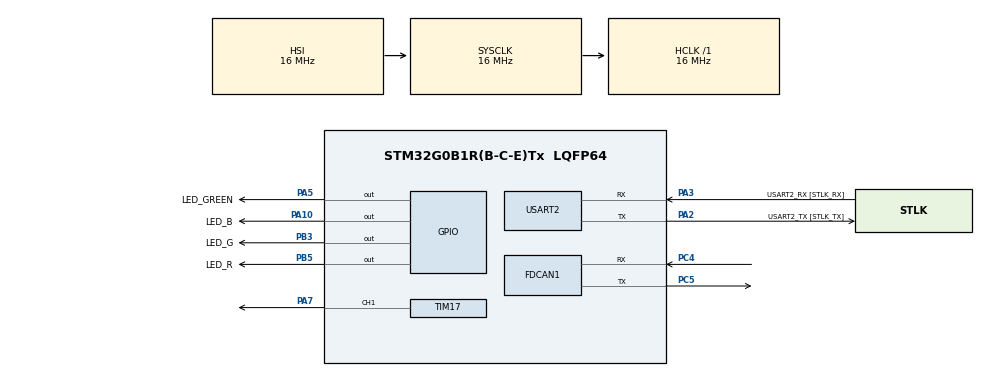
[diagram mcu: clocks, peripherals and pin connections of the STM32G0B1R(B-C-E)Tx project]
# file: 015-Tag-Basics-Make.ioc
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FDCAN1.ClockDivider=FDCAN_CLOCK_DIV16
FDCAN1.DataTimeSeg1=1
FDCAN1.DataTimeSeg2=1
FDCAN1.NominalTimeSeg1=2
FDCAN1.NominalTimeSeg2=2
FDCAN1.TxFifoQueueMode=FDCAN_TX_QUEUE_OPERATION
Mcu.Family=STM32G0
Mcu.Name=STM32G0B1R(B-C-E)Tx
Mcu.Package=LQFP64
NVIC.TIM16_FDCAN_IT0_IRQn=true\:0\:0\:false\:false\:true\:true\:true
NVIC.TIM17_FDCAN_IT1_IRQn=true\:0\:0\:false\:false\:true\:true\:true
PA10.GPIO_Label=LED_B
PA10.GPIO_ModeDefaultOutputPP=GPIO_MODE_OUTPUT_PP
PA10.GPIO_PuPd=GPIO_NOPULL
PA10.Signal=GPIO_Output
PA13.GPIO_Label=TMS
PA13.Mode=Serial_Wire
PA13.Signal=SYS_SWDIO
PA14-BOOT0.GPIO_Label=TCK
PA14-BOOT0.Mode=Serial_Wire
PA14-BOOT0.Signal=SYS_SWCLK
PA2.GPIO_Label=USART2_TX [STLK_TX]
PA2.Mode=Asynchronous
PA2.Signal=USART2_TX
PA3.GPIO_Label=USART2_RX [STLK_RX]
PA3.Mode=Asynchronous
PA3.Signal=USART2_RX
PA5.GPIO_Label=LED_GREEN
PA5.GPIO_Speed=GPIO_SPEED_FREQ_HIGH
PA5.Signal=GPIO_Output
PA7.Signal=S_TIM17_CH1
PB3.GPIO_Label=LED_G
PB3.GPIO_ModeDefaultOutputPP=GPIO_MODE_OUTPUT_PP
PB3.GPIO_PuPd=GPIO_NOPULL
PB3.Signal=GPIO_Output
PB5.GPIO_Label=LED_R
PB5.GPIO_ModeDefaultOutputPP=GPIO_MODE_OUTPUT_PP
PB5.GPIO_PuPd=GPIO_NOPULL
PB5.Signal=GPIO_Output
PC13.Mode=SYS_WakeUp1
PC13.Signal=SYS_WKUP2
PC14-OSC32_IN\ (PC14).Mode=LSE-External-Oscillator
PC14-OSC32_IN\ (PC14).Signal=RCC_OSC32_IN
PC15-OSC32_OUT\ (PC15).Mode=LSE-External-Oscillator
PC15-OSC32_OUT\ (PC15).Signal=RCC_OSC32_OUT
PC4.Mode=FDCAN_Activate
PC4.Signal=FDCAN1_RX
PC5.Mode=FDCAN_Activate
PC5.Signal=FDCAN1_TX
PF0-OSC_IN\ (PF0).GPIO_Label=MCO
PF0-OSC_IN\ (PF0).Mode=HSE-External-Clock-Source
PF0-OSC_IN\ (PF0).Signal=RCC_OSC_IN
ProjectManager.HeapSize=0x200
ProjectManager.StackSize=0x400
ProjectManager.TargetToolchain=Makefile
RCC.ADCFreq_Value=16000000
RCC.AHBFreq_Value=16000000
RCC.CortexFreq_Value=16000000
RCC.EXTERNAL_CLOCK_VALUE=12288000
RCC.FDCANCLockSelection=RCC_FDCANCLKSOURCE_PLL
RCC.HCLKFreq_Value=16000000
RCC.HSE_VALUE=8000000
RCC.HSI48_VALUE=48000000
RCC.HSI_VALUE=16000000
RCC.PLLN=10
RCC.PLLQ=RCC_PLLQ_DIV8
RCC.SYSCLKFreq_VALUE=16000000
RCC.USBFreq_Value=48000000
RCC.VCOOutputFreq_Value=160000000
SH.S_TIM17_CH1.0=TIM17_CH1,PWM Generation1 CH1
TIM16.Prescaler=16000
TIM17.Channel=TIM_CHANNEL_1
TIM17.OCPolarity_1=TIM_OCPOLARITY_LOW
USART2.FIFOMode=FIFOMODE_ENABLE
USART2.VirtualMode-Asynchronous=VM_ASYNC
VP_SYS_VS_DBSignals.Mode=DisableDeadBatterySignals
VP_TIM16_VS_ClockSourceINT.Mode=Enable_Timer
VP_TIM17_VS_ClockSourceINT.Mode=Enable_Timer
board=NUCLEO-G0B1RE

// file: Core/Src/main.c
/* USER CODE BEGIN Header */
/**
  ******************************************************************************
  * @file           : main.c
  * @brief          : Main program body
  ******************************************************************************
  * @attention
  *
  * Copyright (c) 2022 STMicroelectronics.
  * All rights reserved.
  *
  * This software is licensed under terms that can be found in the LICENSE file
  * in the root directory of this software component.
  * If no LICENSE file comes with this software, it is provided AS-IS.
  *
  ******************************************************************************
  */
/* USER CODE END Header */
#include "main.h"

FDCAN_HandleTypeDef hfdcan1;

TIM_HandleTypeDef htim16;
TIM_HandleTypeDef htim17;

UART_HandleTypeDef huart2;

/* USER CODE BEGIN PV */
int _write(int fd, char* ptr, int len)
{
  HAL_UART_Transmit(&huart2, (uint8_t *) ptr, len, HAL_MAX_DELAY);
  return len;
}

/* USER CODE END PV */

void SystemClock_Config(void);
static void MX_GPIO_Init(void);
static void MX_FDCAN1_Init(void);
static void MX_USART2_UART_Init(void);
static void MX_TIM17_Init(void);
static void MX_TIM16_Init(void);

int main(void)
{

  /* MCU Configuration--------------------------------------------------------*/

  /* Reset of all peripherals, Initializes the Flash interface and the Systick. */
  HAL_Init();

  /* Configure the system clock */
  SystemClock_Config();

  /* Initialize all configured peripherals */
  MX_GPIO_Init();
  MX_FDCAN1_Init();
  MX_USART2_UART_Init();
  MX_TIM17_Init();
  MX_TIM16_Init();
  /* USER CODE BEGIN 2 */

  // Display Boot Message
  printf("\r\n---- Boot ----\r\n");
  // Setup LED
  rgbMagenta();
  printf("Software Version %d.%d.%d-%d (%s)\r\n", SW_V_MAJOR, SW_V_MINOR, SW_V_PATCH, SW_V_REL, SW_V_STR);
  // Start the FDCAN Peripheral
  printf("Starting RAD Bus Interface... ");
  HAL_FDCAN_Start(&hfdcan1);
  HAL_FDCAN_ActivateNotification(&hfdcan1, FDCAN_IT_RX_FIFO0_NEW_MESSAGE, 0);
  printf("Done.\r\n");

  printf("Starting Buzzer Subsystem... ");
  bzInit();
  printf("Done\r\n");

  bzPlayTune(&bzDeclineTune);

  HAL_Delay(1500);
  rgbCyan();

  /* USER CODE END 2 */

  /* Infinite loop */
  /* USER CODE BEGIN WHILE */
  int ctr = 1;
  while (1)
  {
    HAL_Delay(1);
    if (!(ctr % 6000)) {
      rbTagDetach(&hfdcan1, 0xBEEFBEAD);
    } else if (!(ctr % 3000)) {
      rbTagAttach(&hfdcan1, 0xBEEFBEAD);
    }
    logTick();
    ctr++;
    /* USER CODE END WHILE */

  }
}

void SystemClock_Config(void)
{
  RCC_OscInitTypeDef RCC_OscInitStruct = {0};
  RCC_ClkInitTypeDef RCC_ClkInitStruct = {0};

  /** Configure the main internal regulator output voltage
  */
  HAL_PWREx_ControlVoltageScaling(PWR_REGULATOR_VOLTAGE_SCALE1);
  /** Initializes the RCC Oscillators according to the specified parameters
  * in the RCC_OscInitTypeDef structure.
  */
  RCC_OscInitStruct.OscillatorType = RCC_OSCILLATORTYPE_HSI;
  RCC_OscInitStruct.HSIState = RCC_HSI_ON;
  RCC_OscInitStruct.HSIDiv = RCC_HSI_DIV1;
  RCC_OscInitStruct.HSICalibrationValue = RCC_HSICALIBRATION_DEFAULT;
  RCC_OscInitStruct.PLL.PLLState = RCC_PLL_ON;
  RCC_OscInitStruct.PLL.PLLSource = RCC_PLLSOURCE_HSI;
  RCC_OscInitStruct.PLL.PLLM = RCC_PLLM_DIV1;
  RCC_OscInitStruct.PLL.PLLN = 10;
  RCC_OscInitStruct.PLL.PLLP = RCC_PLLP_DIV2;
  RCC_OscInitStruct.PLL.PLLQ = RCC_PLLQ_DIV8;
  RCC_OscInitStruct.PLL.PLLR = RCC_PLLR_DIV2;
  if (HAL_RCC_OscConfig(&RCC_OscInitStruct) != HAL_OK)
  {
    Error_Handler();
  }
  /** Initializes the CPU, AHB and APB buses clocks
  */
  RCC_ClkInitStruct.ClockType = RCC_CLOCKTYPE_HCLK|RCC_CLOCKTYPE_SYSCLK
                              |RCC_CLOCKTYPE_PCLK1;
  RCC_ClkInitStruct.SYSCLKSource = RCC_SYSCLKSOURCE_HSI;
  RCC_ClkInitStruct.AHBCLKDivider = RCC_SYSCLK_DIV1;
  RCC_ClkInitStruct.APB1CLKDivider = RCC_HCLK_DIV1;

  if (HAL_RCC_ClockConfig(&RCC_ClkInitStruct, FLASH_LATENCY_0) != HAL_OK)
  {
    Error_Handler();
  }
}

static void MX_FDCAN1_Init(void)
{

  hfdcan1.Instance = FDCAN1;
  hfdcan1.Init.ClockDivider = FDCAN_CLOCK_DIV16;
  hfdcan1.Init.FrameFormat = FDCAN_FRAME_CLASSIC;
  hfdcan1.Init.Mode = FDCAN_MODE_NORMAL;
  hfdcan1.Init.AutoRetransmission = DISABLE;
  hfdcan1.Init.TransmitPause = DISABLE;
  hfdcan1.Init.ProtocolException = DISABLE;
  hfdcan1.Init.NominalPrescaler = 1;
  hfdcan1.Init.NominalSyncJumpWidth = 1;
  hfdcan1.Init.NominalTimeSeg1 = 2;
  hfdcan1.Init.NominalTimeSeg2 = 2;
  hfdcan1.Init.DataPrescaler = 1;
  hfdcan1.Init.DataSyncJumpWidth = 1;
  hfdcan1.Init.DataTimeSeg1 = 1;
  hfdcan1.Init.DataTimeSeg2 = 1;
  hfdcan1.Init.StdFiltersNbr = 0;
  hfdcan1.Init.ExtFiltersNbr = 0;
  hfdcan1.Init.TxFifoQueueMode = FDCAN_TX_QUEUE_OPERATION;
  if (HAL_FDCAN_Init(&hfdcan1) != HAL_OK)
  {
    Error_Handler();
  }

}

static void MX_TIM16_Init(void)
{

  htim16.Instance = TIM16;
  htim16.Init.Prescaler = 16000;
  htim16.Init.CounterMode = TIM_COUNTERMODE_UP;
  htim16.Init.Period = 65535;
  htim16.Init.ClockDivision = TIM_CLOCKDIVISION_DIV1;
  htim16.Init.RepetitionCounter = 0;
  htim16.Init.AutoReloadPreload = TIM_AUTORELOAD_PRELOAD_DISABLE;
  if (HAL_TIM_Base_Init(&htim16) != HAL_OK)
  {
    Error_Handler();
  }

}

static void MX_TIM17_Init(void)
{

  TIM_OC_InitTypeDef sConfigOC = {0};
  TIM_BreakDeadTimeConfigTypeDef sBreakDeadTimeConfig = {0};

  htim17.Instance = TIM17;
  htim17.Init.Prescaler = 0;
  htim17.Init.CounterMode = TIM_COUNTERMODE_UP;
  htim17.Init.Period = 65535;
  htim17.Init.ClockDivision = TIM_CLOCKDIVISION_DIV1;
  htim17.Init.RepetitionCounter = 0;
  htim17.Init.AutoReloadPreload = TIM_AUTORELOAD_PRELOAD_DISABLE;
  if (HAL_TIM_Base_Init(&htim17) != HAL_OK)
  {
    Error_Handler();
  }
  if (HAL_TIM_PWM_Init(&htim17) != HAL_OK)
  {
    Error_Handler();
  }
  sConfigOC.OCMode = TIM_OCMODE_PWM1;
  sConfigOC.Pulse = 0;
  sConfigOC.OCPolarity = TIM_OCPOLARITY_LOW;
  sConfigOC.OCNPolarity = TIM_OCNPOLARITY_HIGH;
  sConfigOC.OCFastMode = TIM_OCFAST_DISABLE;
  sConfigOC.OCIdleState = TIM_OCIDLESTATE_RESET;
  sConfigOC.OCNIdleState = TIM_OCNIDLESTATE_RESET;
  if (HAL_TIM_PWM_ConfigChannel(&htim17, &sConfigOC, TIM_CHANNEL_1) != HAL_OK)
  {
    Error_Handler();
  }
  sBreakDeadTimeConfig.OffStateRunMode = TIM_OSSR_DISABLE;
  sBreakDeadTimeConfig.OffStateIDLEMode = TIM_OSSI_DISABLE;
  sBreakDeadTimeConfig.LockLevel = TIM_LOCKLEVEL_OFF;
  sBreakDeadTimeConfig.DeadTime = 0;
  sBreakDeadTimeConfig.BreakState = TIM_BREAK_DISABLE;
  sBreakDeadTimeConfig.BreakPolarity = TIM_BREAKPOLARITY_HIGH;
  sBreakDeadTimeConfig.BreakFilter = 0;
  sBreakDeadTimeConfig.AutomaticOutput = TIM_AUTOMATICOUTPUT_DISABLE;
  if (HAL_TIMEx_ConfigBreakDeadTime(&htim17, &sBreakDeadTimeConfig) != HAL_OK)
  {
    Error_Handler();
  }
  HAL_TIM_MspPostInit(&htim17);

}

static void MX_USART2_UART_Init(void)
{

  huart2.Instance = USART2;
  huart2.Init.BaudRate = 115200;
  huart2.Init.WordLength = UART_WORDLENGTH_8B;
  huart2.Init.StopBits = UART_STOPBITS_1;
  huart2.Init.Parity = UART_PARITY_NONE;
  huart2.Init.Mode = UART_MODE_TX_RX;
  huart2.Init.HwFlowCtl = UART_HWCONTROL_NONE;
  huart2.Init.OverSampling = UART_OVERSAMPLING_16;
  huart2.Init.OneBitSampling = UART_ONE_BIT_SAMPLE_DISABLE;
  huart2.Init.ClockPrescaler = UART_PRESCALER_DIV1;
  huart2.AdvancedInit.AdvFeatureInit = UART_ADVFEATURE_NO_INIT;
  if (HAL_UART_Init(&huart2) != HAL_OK)
  {
    Error_Handler();
  }
  if (HAL_UARTEx_SetTxFifoThreshold(&huart2, UART_TXFIFO_THRESHOLD_1_8) != HAL_OK)
  {
    Error_Handler();
  }
  if (HAL_UARTEx_SetRxFifoThreshold(&huart2, UART_RXFIFO_THRESHOLD_1_8) != HAL_OK)
  {
    Error_Handler();
  }
  if (HAL_UARTEx_EnableFifoMode(&huart2) != HAL_OK)
  {
    Error_Handler();
  }

}

static void MX_GPIO_Init(void)
{
  GPIO_InitTypeDef GPIO_InitStruct = {0};

  /* GPIO Ports Clock Enable */
  __HAL_RCC_GPIOC_CLK_ENABLE();
  __HAL_RCC_GPIOF_CLK_ENABLE();
  __HAL_RCC_GPIOA_CLK_ENABLE();
  __HAL_RCC_GPIOB_CLK_ENABLE();

  /*Configure GPIO pin Output Level */
  HAL_GPIO_WritePin(GPIOA, LED_GREEN_Pin|LED_B_Pin, GPIO_PIN_RESET);

  /*Configure GPIO pin Output Level */
  HAL_GPIO_WritePin(GPIOB, LED_G_Pin|LED_R_Pin, GPIO_PIN_RESET);

  /*Configure GPIO pin : LED_GREEN_Pin */
  GPIO_InitStruct.Pin = LED_GREEN_Pin;
  GPIO_InitStruct.Mode = GPIO_MODE_OUTPUT_PP;
  GPIO_InitStruct.Pull = GPIO_NOPULL;
  GPIO_InitStruct.Speed = GPIO_SPEED_FREQ_HIGH;
  HAL_GPIO_Init(LED_GREEN_GPIO_Port, &GPIO_InitStruct);

  /*Configure GPIO pin : LED_B_Pin */
  GPIO_InitStruct.Pin = LED_B_Pin;
  GPIO_InitStruct.Mode = GPIO_MODE_OUTPUT_PP;
  GPIO_InitStruct.Pull = GPIO_NOPULL;
  GPIO_InitStruct.Speed = GPIO_SPEED_FREQ_LOW;
  HAL_GPIO_Init(LED_B_GPIO_Port, &GPIO_InitStruct);

  /*Configure GPIO pins : LED_G_Pin LED_R_Pin */
  GPIO_InitStruct.Pin = LED_G_Pin|LED_R_Pin;
  GPIO_InitStruct.Mode = GPIO_MODE_OUTPUT_PP;
  GPIO_InitStruct.Pull = GPIO_NOPULL;
  GPIO_InitStruct.Speed = GPIO_SPEED_FREQ_LOW;
  HAL_GPIO_Init(GPIOB, &GPIO_InitStruct);

}

void Error_Handler(void)
{
  __disable_irq();
  while (1)
  {
  }
}
